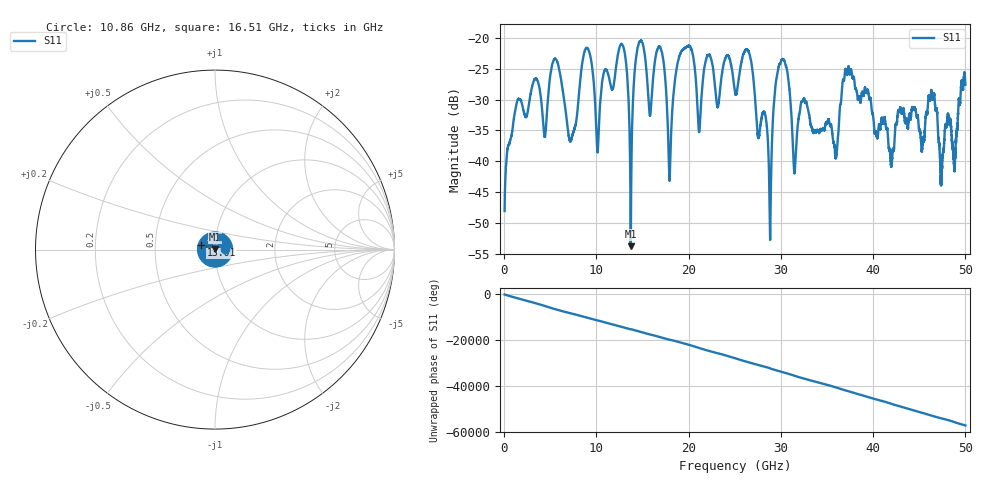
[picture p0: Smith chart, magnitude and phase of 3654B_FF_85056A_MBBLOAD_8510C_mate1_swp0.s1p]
!Created with skrf (http://scikit-rf.org).
# Hz S RI R 50.0
!freq ReS11 ImS11
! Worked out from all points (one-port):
!   10001 points, 45 MHz to 50 GHz, reference 50 ohm
!   lowest |S11| = -53.8 dB at 13.72 GHz (marker M1), VSWR 1.00, Z = 49.8 + j0.122 ohm
!   |S11| at or under -10 dB: start of sweep to end of sweep
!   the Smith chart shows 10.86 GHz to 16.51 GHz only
!   S11 on the Smith chart (normalised r, x): 10.86 GHz: 1.11, +0.01; 13.01 GHz: 0.86, +0.04; 16.51 GHz: 1.06, +0.15
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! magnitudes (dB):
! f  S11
! 45 MHz  -48.1
! 1.504 GHz  -29.9
! 6.289 GHz  -28.0
! 7.293 GHz  -36.3
! 9.057 GHz  -21.7
! 10.13 GHz  -38.5
! 10.86 GHz  -25.4
! 12.53 GHz  -21.3
! 13.01 GHz  -22.0
! 13.72 GHz  -53.8
! 14.56 GHz  -21.1
! 15.81 GHz  -32.6
! 16.51 GHz  -22.3
! 17.94 GHz  -43.1
! 18.78 GHz  -24.2
! 21.14 GHz  -35.3
! 25.02 GHz  -28.8
! 26.52 GHz  -22.3
! 28.81 GHz  -51.8
! 30.26 GHz  -23.5
! 31.27 GHz  -36.2
! 35.93 GHz  -39.4
! 37.51 GHz  -25.7
! 41.93 GHz  -40.4
! 43.76 GHz  -34.6
! 46.45 GHz  -29.9
! 47.43 GHz  -42.1
! 50 GHz  -27.6
